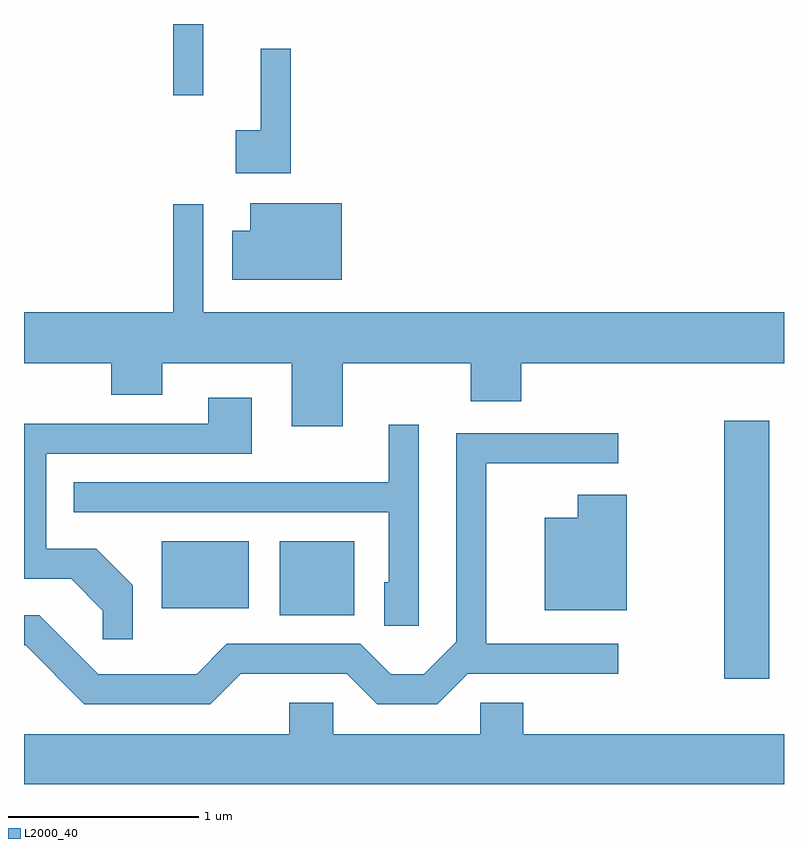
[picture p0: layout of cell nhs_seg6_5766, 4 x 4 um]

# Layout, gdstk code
import gdstk
lib = gdstk.Library(unit=1e-6, precision=1e-09)
def R(c, l, rs):  # rectangles x0, y0, x1, y1
    for r in rs: c.add(gdstk.rectangle(r[:2], r[2:], *l))
def P(c, l, *ps):  # polygons
    for p in ps: c.add(gdstk.Polygon(p, *l))
L2000_40 = (2000, 40)

nhs_seg6_5766 = lib.new_cell('nhs_seg6_5766')
R(nhs_seg6_5766, L2000_40, [(363.296,1652.716,363.534,1654.074), (360.956,1653.051,361.349,1653.439), (360.336,1653.086,360.794,1653.439), (360.396,1655.788,360.554,1656.162)])
P(nhs_seg6_5766, L2000_40, [(361.014,1656.033),(360.856,1656.033),(360.856,1655.604),(360.726,1655.604),(360.726,1655.376),(361.014,1655.376)],
  [(361.284,1655.219),(360.801,1655.219),(360.801,1655.074),(360.706,1655.074),(360.706,1654.816),(361.284,1654.816)],
  [(361.289,1654.376),(361.961,1654.376),(361.961,1654.176),(362.229,1654.176),(362.229,1654.376),(363.611,1654.376),(363.611,1654.644),(360.554,1654.644),(360.554,1655.213),(360.396,1655.213),(360.396,1654.644),(359.611,1654.644),(359.611,1654.376),(360.071,1654.376),(360.071,1654.211),(360.339,1654.211),(360.339,1654.376),(361.021,1654.376),(361.021,1654.046),(361.289,1654.046)],
  [(360.184,1653.207),(359.992,1653.399),(359.729,1653.399),(359.729,1653.901),(360.809,1653.901),(360.809,1654.194),(360.581,1654.194),(360.581,1654.059),(359.611,1654.059),(359.611,1653.241),(359.859,1653.241),(360.026,1653.074),(360.026,1652.923),(360.184,1652.923)],
  [(361.689,1654.053),(361.531,1654.053),(361.531,1653.749),(359.873,1653.749),(359.873,1653.591),(361.531,1653.591),(361.531,1653.224),(361.506,1653.224),(361.506,1652.996),(361.689,1652.996)],
  [(360.752,1652.741),(361.309,1652.741),(361.469,1652.581),(361.787,1652.581),(361.947,1652.741),(362.738,1652.741),(362.738,1652.899),(362.044,1652.899),(362.044,1653.851),(362.738,1653.851),(362.738,1654.009),(361.886,1654.009),(361.886,1652.912),(361.714,1652.739),(361.542,1652.739),(361.382,1652.899),(360.679,1652.899),(360.519,1652.739),(360.002,1652.739),(359.692,1653.049),(359.611,1653.049),(359.611,1652.891),(359.619,1652.891),(359.929,1652.581),(360.592,1652.581)],
  [(362.784,1653.684),(362.526,1653.684),(362.526,1653.564),(362.351,1653.564),(362.351,1653.076),(362.784,1653.076)],
  [(363.611,1652.424),(362.239,1652.424),(362.239,1652.589),(362.011,1652.589),(362.011,1652.424),(361.239,1652.424),(361.239,1652.589),(361.006,1652.589),(361.006,1652.424),(359.611,1652.424),(359.611,1652.162),(363.611,1652.162)])

lib.write_gds('nhs_seg6_5766.gds')
